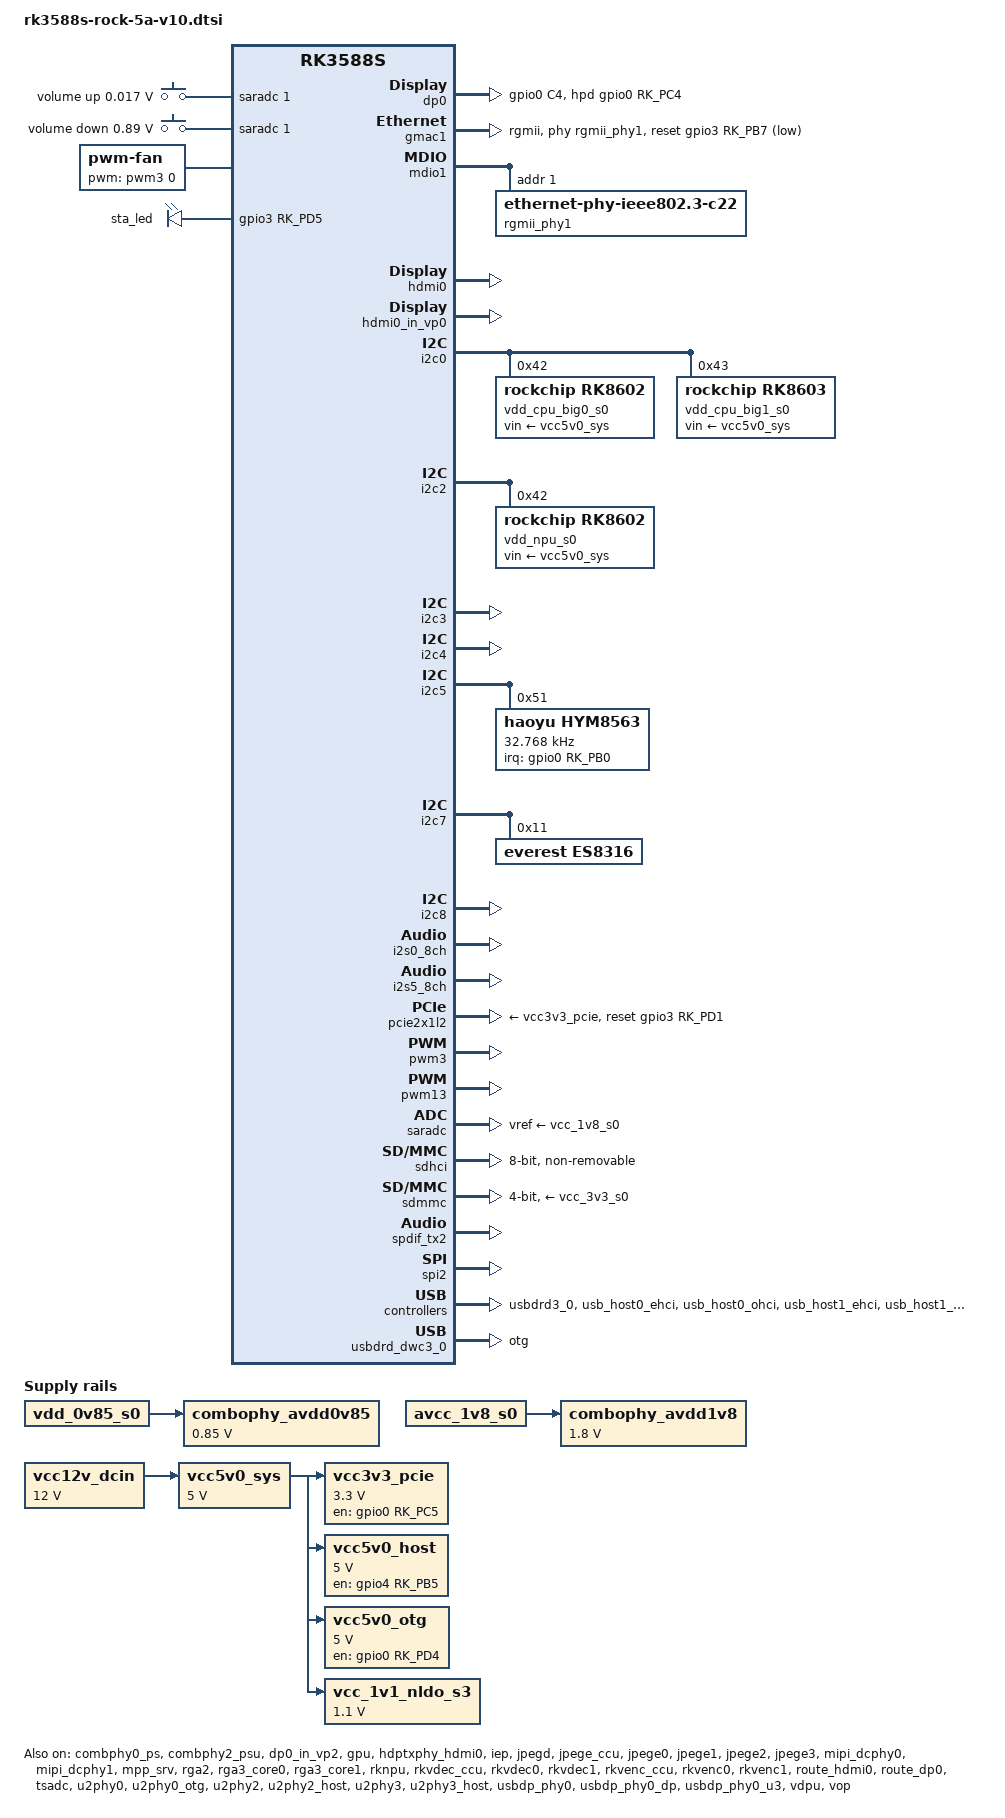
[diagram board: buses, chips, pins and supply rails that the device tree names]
// SPDX-License-Identifier: (GPL-2.0+ OR MIT)
/*
 * Copyright (c) 2021 Rockchip Electronics Co., Ltd.
 *
 */

#include <dt-bindings/gpio/gpio.h>
#include <dt-bindings/pwm/pwm.h>
#include <dt-bindings/pinctrl/rockchip.h>
#include <dt-bindings/input/rk-input.h>
#include <dt-bindings/display/drm_mipi_dsi.h>
#include <dt-bindings/display/rockchip_vop.h>
#include <dt-bindings/sensor-dev.h>
#include <dt-bindings/usb/pd.h>
#include "rk3588s.dtsi"
#include "rk3588-android.dtsi"
#include "rk3588-rk806-single.dtsi"

/ {
	adc_keys: adc-keys {
		compatible = "adc-keys";
		io-channels = <&saradc 1>;
		io-channel-names = "buttons";
		keyup-threshold-microvolt = <1800000>;
		poll-interval = <100>;

		vol-up-key {
			label = "volume up";
			linux,code = <KEY_VOLUMEUP>;
			press-threshold-microvolt = <17000>;
		};

		vol-down-key {
			label = "volume down";
			linux,code = <KEY_VOLUMEDOWN>;
			press-threshold-microvolt = <890000>;
		};
	};

	fan: pwm-fan {
		compatible = "pwm-fan";
		#cooling-cells = <2>;
		pwms = <&pwm3 0 50000 0>;
		cooling-levels = <0 50 100 150 200 255>;
		rockchip,temp-trips = <
                50000   1
                55000   2
                60000   3
                65000   4
                70000   5
        >;
	};

	combophy_avdd0v85: combophy-avdd0v85 {
		compatible = "regulator-fixed";
		regulator-name = "combophy_avdd0v85";
		regulator-boot-on;
		regulator-min-microvolt = <850000>;
		regulator-max-microvolt = <850000>;
		vin-supply = <&vdd_0v85_s0>;
	};

	combophy_avdd1v8: combophy-avdd1v8 {
		compatible = "regulator-fixed";
		regulator-name = "combophy_avdd1v8";
		regulator-boot-on;
		regulator-min-microvolt = <1800000>;
		regulator-max-microvolt = <1800000>;
		vin-supply = <&avcc_1v8_s0>;
	};

	dp0_sound: dp0-sound {
		status = "okay";
		compatible = "rockchip,hdmi";
		rockchip,mclk-fs = <512>;
		rockchip,card-name= "rockchip,dp0";
		rockchip,cpu = <&spdif_tx2>;
		rockchip,codec = <&dp0 1>;
		rockchip,jack-det;
	};

	es8316_sound: es8316-sound {
		status = "okay";
		compatible = "simple-audio-card";
		simple-audio-card,format = "i2s";
		simple-audio-card,mclk-fs = <256>;
		simple-audio-card,name = "rockchip,es8316-codec";
		simple-audio-card,dai-link@0 {
			format = "i2s";
			cpu {
				sound-dai = <&i2s0_8ch>;
			};
			codec {
				sound-dai = <&es8316>;
			};
		};
	};

	hdmi0_sound: hdmi0-sound {
		status = "okay";
		compatible = "simple-audio-card";
		simple-audio-card,format = "i2s";
		simple-audio-card,mclk-fs = <128>;
		simple-audio-card,name = "rockchip,hdmi0";

		simple-audio-card,cpu {
			sound-dai = <&i2s5_8ch>;
		};
		simple-audio-card,codec {
			sound-dai = <&hdmi0>;
		};
	};

	leds: leds {
		compatible = "gpio-leds";
		sta_led: sta {
			gpios = <&gpio3 RK_PD5 GPIO_ACTIVE_HIGH>;
			linux,default-trigger = "heartbeat";
		};
	};

	vcc12v_dcin: vcc12v-dcin {
		compatible = "regulator-fixed";
		regulator-name = "vcc12v_dcin";
		regulator-always-on;
		regulator-boot-on;
		regulator-min-microvolt = <12000000>;
		regulator-max-microvolt = <12000000>;
	};

	vcc3v3_pcie: vcc3v3-pcie {
		compatible = "regulator-fixed";
		regulator-name = "vcc3v3_pcie";
		regulator-min-microvolt = <3300000>;
		regulator-max-microvolt = <3300000>;
		enable-active-high;
		gpio = <&gpio0 RK_PC5 GPIO_ACTIVE_HIGH>;
		startup-delay-us = <5000>;
		vin-supply = <&vcc5v0_sys>;
	};

	vcc5v0_host: vcc5v0-host-regulator {
		compatible = "regulator-fixed";
		regulator-name = "vcc5v0_host";
		regulator-boot-on;
		regulator-always-on;
		regulator-min-microvolt = <5000000>;
		regulator-max-microvolt = <5000000>;
		enable-active-high;
		gpio = <&gpio4 RK_PB5 GPIO_ACTIVE_HIGH>;
		pinctrl-names = "default";
		pinctrl-0 = <&vcc5v0_host_en>;
		vin-supply = <&vcc5v0_sys>;
	};

	vcc5v0_otg: vcc5v0-otg-regulator {
		compatible = "regulator-fixed";
		regulator-name = "vcc5v0_otg";
		regulator-min-microvolt = <5000000>;
		regulator-max-microvolt = <5000000>;
		enable-active-high;
		gpio = <&gpio0 RK_PD4 GPIO_ACTIVE_HIGH>;
		pinctrl-names = "default";
		pinctrl-0 = <&vcc5v0_otg_en>;
		vin-supply = <&vcc5v0_sys>;
	};

	vcc5v0_sys: vcc5v0-sys {
		compatible = "regulator-fixed";
		regulator-name = "vcc5v0_sys";
		regulator-always-on;
		regulator-boot-on;
		regulator-min-microvolt = <5000000>;
		regulator-max-microvolt = <5000000>;
		vin-supply = <&vcc12v_dcin>;
	};

	vcc_1v1_nldo_s3: vcc-1v1-nldo-s3 {
		compatible = "regulator-fixed";
		regulator-name = "vcc_1v1_nldo_s3";
		regulator-always-on;
		regulator-boot-on;
		regulator-min-microvolt = <1100000>;
		regulator-max-microvolt = <1100000>;
		vin-supply = <&vcc5v0_sys>;
	};
};

&combphy0_ps {
	status = "okay";
};
&combphy2_psu {
	status = "okay";
};

&cpu_l0 {
	cpu-supply = <&vdd_cpu_lit_s0>;
	mem-supply = <&vdd_cpu_lit_mem_s0>;
};

&cpu_b0 {
	cpu-supply = <&vdd_cpu_big0_s0>;
	mem-supply = <&vdd_cpu_big0_mem_s0>;
};

&cpu_b2 {
	cpu-supply = <&vdd_cpu_big1_s0>;
	mem-supply = <&vdd_cpu_big1_mem_s0>;
};

/* ddr*/
&dmc {
	status = "disabled";
};

&dfi {
	status = "disabled";
};

&dp0 {
	status = "okay";
	pinctrl-names = "default";
	pinctrl-0 = <&dp0_hpd>;
	hpd-gpios = <&gpio0 RK_PC4 GPIO_ACTIVE_HIGH>;
};

&dp0_in_vp2 {
	status = "okay";
};

// ethernet
&gmac1 {
	status = "okay";
	phy-mode = "rgmii";
	clock_in_out = "output";

	snps,reset-gpio = <&gpio3 RK_PB7 GPIO_ACTIVE_LOW>;
	snps,reset-active-low;
	// Reset time is 20ms, 100ms for rtl8211f
	snps,reset-delays-us = <0 20000 100000>;

	pinctrl-names = "default";
	pinctrl-0 = <&gmac1_miim
		     &gmac1_tx_bus2
		     &gmac1_rx_bus2
		     &gmac1_rgmii_clk
		     &gmac1_rgmii_bus>;

	tx_delay = <0x3a>;
	rx_delay = <0x3e>;

	phy-handle = <&rgmii_phy1>;
};

&mdio1 {
	rgmii_phy1: phy@1 {
		compatible = "ethernet-phy-ieee802.3-c22";
		reg = <0x1>;
	};
};
&gpu {
	mali-supply = <&vdd_gpu_s0>;
	mem-supply = <&vdd_gpu_mem_s0>;
	status = "okay";
};

&hdmi0 {
	enable-gpios = <&gpio1 RK_PC6 GPIO_ACTIVE_HIGH>;
	pinctrl-names = "default";
	pinctrl-0 = <&hdmim0_tx0_cec &hdmim1_tx0_hpd &hdmim0_tx0_scl &hdmim0_tx0_sda>;
	status = "okay";
};

&hdmi0_in_vp0 {
	status = "okay";
};

&hdmi0_in_vp1 {
	status = "disabled";
};

&hdmi0_in_vp2 {
	status = "disabled";
};

&hdmi0_sound {
	status = "okay";
};
&hdptxphy_hdmi0 {
	status = "okay";
};

&i2c0 {
	status = "okay";
	pinctrl-names = "default";
	pinctrl-0 = <&i2c0m2_xfer>;

	vdd_cpu_big0_s0: vdd_cpu_big0_mem_s0: rk8602@42 {
		compatible = "rockchip,rk8602";
		reg = <0x42>;
		vin-supply = <&vcc5v0_sys>;
		regulator-compatible = "rk860x-reg";
		regulator-name = "vdd_cpu_big0_s0";
		regulator-min-microvolt = <550000>;
		regulator-max-microvolt = <1050000>;
		regulator-ramp-delay = <2300>;
		rockchip,suspend-voltage-selector = <1>;
		regulator-boot-on;
		regulator-always-on;
		regulator-state-mem {
			regulator-off-in-suspend;
		};
	};

	vdd_cpu_big1_s0: vdd_cpu_big1_mem_s0: rk8603@43 {
		compatible = "rockchip,rk8603";
		reg = <0x43>;
		vin-supply = <&vcc5v0_sys>;
		regulator-compatible = "rk860x-reg";
		regulator-name = "vdd_cpu_big1_s0";
		regulator-min-microvolt = <550000>;
		regulator-max-microvolt = <1050000>;
		regulator-ramp-delay = <2300>;
		rockchip,suspend-voltage-selector = <1>;
		regulator-boot-on;
		regulator-always-on;
		regulator-state-mem {
			regulator-off-in-suspend;
		};
	};
};

&i2c2 {
	status = "okay";
	pinctrl-names = "default";
	pinctrl-0 = <&i2c2m0_xfer>;

	vdd_npu_s0: vdd_npu_mem_s0: rk8602@42 {
		compatible = "rockchip,rk8602";
		reg = <0x42>;
		vin-supply = <&vcc5v0_sys>;
		regulator-compatible = "rk860x-reg";
		regulator-name = "vdd_npu_s0";
		regulator-min-microvolt = <550000>;
		regulator-max-microvolt = <950000>;
		regulator-ramp-delay = <2300>;
		rockchip,suspend-voltage-selector = <1>;
		regulator-boot-on;
		regulator-always-on;
		regulator-state-mem {
			regulator-off-in-suspend;
		};
	};
}; 

&i2c3 {
	status = "okay";
};

&i2c4 {
	status = "okay";
	pinctrl-names = "default";
	pinctrl-0 = <&i2c4m3_xfer>;
};

&i2c5 {
	hym8563: hym8563@51 {
		compatible = "haoyu,hym8563";
		reg = <0x51>;
		#clock-cells = <0>;
		clock-frequency = <32768>;
		clock-output-names = "hym8563";
		pinctrl-names = "default";
		pinctrl-0 = <&rtc_int>;

		interrupt-parent = <&gpio0>;
		interrupts = <RK_PB0 IRQ_TYPE_LEVEL_LOW>;
	};
};

&i2c7 {
	status = "okay";

	es8316: es8316@11 {
		compatible = "everest,es8316";
		reg = <0x11>;
		clocks = <&cru I2S0_8CH_MCLKOUT>;
		clock-names = "mclk";
		pinctrl-names = "default";
		pinctrl-0 = <&i2s0_mclk>;
		#sound-dai-cells = <0>;
	};
};

&i2c8 {
	status = "okay";
	pinctrl-names = "default";
	pinctrl-0 = <&i2c8m2_xfer>;
};

&i2s0_8ch {
	status = "okay";
	rockchip,playback-channels = <2>;
	rockchip,capture-channels = <2>;
	#sound-dai-cells = <0>;
	pinctrl-names = "default";
	pinctrl-0 = <&i2s0_lrck
			 &i2s0_sclk
			 &i2s0_sdi0
			 &i2s0_sdo0>;
};

&i2s5_8ch {
	status = "okay";
};

&iep {
	status = "okay";
};

&iep_mmu {
	status = "okay";
};

&jpegd {
	status = "okay";
};

&jpegd_mmu {
	status = "okay";
};

&jpege_ccu {
	status = "okay";
};

&jpege0 {
	status = "okay";
};

&jpege0_mmu {
	status = "okay";
};

&jpege1 {
	status = "okay";
};

&jpege1_mmu {
	status = "okay";
};

&jpege2 {
	status = "okay";
};

&jpege2_mmu {
	status = "okay";
};

&jpege3 {
	status = "okay";
};

&jpege3_mmu {
	status = "okay";
};

// gmac1
&mipi_dcphy0 {
	status = "okay";
};

&mipi_dcphy1 {
	status = "okay";
};

&mpp_srv {
	status = "okay";
};

&pcie2x1l2 {
	status = "okay";
	rockchip,skip-scan-in-resume;
	reset-gpios = <&gpio3 RK_PD1 GPIO_ACTIVE_HIGH>;
	vpcie3v3-supply = <&vcc3v3_pcie>;
};

/// we don't have pdm
&pdm0 {
	status = "disabled";
};

&pinctrl {
	dp {
		dp0_hpd: dp0-hpd {
			rockchip,pins = <0 RK_PC4 RK_FUNC_GPIO &pcfg_pull_none>;
		};
	};

	hym8563 {
		rtc_int: rtc-int {
			rockchip,pins = <0 RK_PB0 RK_FUNC_GPIO &pcfg_pull_up>;
		};
	};

	lcd {
		lcd_rst_gpio: lcd-rst-gpio {
			rockchip,pins = <1 RK_PA4 RK_FUNC_GPIO &pcfg_pull_none>;
		};
	};

	usb {
		vcc5v0_host_en: vcc5v0-host-en {
			rockchip,pins = <4 RK_PA3 RK_FUNC_GPIO &pcfg_pull_none>;
		};

		vcc5v0_otg_en: vcc5v0-otg-en {
			rockchip,pins = <0 RK_PD4 RK_FUNC_GPIO &pcfg_pull_none>;
		};

	};
};

/*fan*/
&pwm3 {
	status = "okay";
	pinctrl-0 = <&pwm3m1_pins>;
};

&pwm13 {
	status = "okay";
	pinctrl-names = "active";
	pinctrl-0 = <&pwm13m1_pins>;
};

&rga2 {
	status = "okay";
};

&rga3_core0 {
	status = "okay";
};

&rga3_0_mmu {
	status = "okay";
};

&rga3_core1 {
	status = "okay";
};

&rga3_1_mmu {
	status = "okay";
};

&rknpu {
	rknpu-supply = <&vdd_npu_s0>;
	mem-supply = <&vdd_npu_mem_s0>;
	status = "okay";
};

&rknpu_mmu {
	status = "okay";
};

&rkvdec_ccu {
	status = "okay";
};

&rkvdec0 {
	status = "okay";
};

&rkvdec0_mmu {
	status = "okay";
};

&rkvdec1 {
	status = "okay";
};

&rkvdec1_mmu {
	status = "okay";
};

&rkvenc_ccu {
	status = "okay";
};

&rkvenc0 {
	status = "okay";
};

&rkvenc0_mmu {
	status = "okay";
};

&rkvenc1 {
	status = "okay";
};

&rkvenc1_mmu {
	status = "okay";
};

&rockchip_suspend {
	status = "okay";
	rockchip,sleep-debug-en = <1>;
};

&route_hdmi0 {
	status = "okay";
	logo,uboot = "logo.bmp";
	logo,kernel = "logo_kernel.bmp";
	logo,mode = "center";
	charge_logo,mode = "center";
	connect = <&vp0_out_hdmi0>;
};

&route_dp0 {
	status = "okay";
	logo,uboot = "logo.bmp";
	logo,kernel = "logo_kernel.bmp";
	logo,mode = "center";
	charge_logo,mode = "center";
	connect = <&vp2_out_dp0>;
};

&saradc {
	status = "okay";
	vref-supply = <&vcc_1v8_s0>;
};

/* eMMC */

&sdhci {
	bus-width = <8>;
	no-sdio;
	no-sd;
	supports-sd;
	non-removable;
	max-frequency = <200000000>;
	mmc-hs400-1_8v;
	// mmc-hs400-enhanced-strobe;
	pinctrl-names = "default";
	pinctrl-0 = <&emmc_rstnout &emmc_bus8 &emmc_clk &emmc_cmd &emmc_data_strobe>;
	status = "okay";
};
/* SD */
&sdmmc {
	max-frequency = <150000000>;
	no-sdio;
	no-mmc;
	bus-width = <4>;
	cap-mmc-highspeed;
	cap-sd-highspeed;
	disable-wp;
	sd-uhs-sdr104;
	vmmc-supply = <&vcc_3v3_s0>;
	vqmmc-supply = <&vccio_sd_s0>;
	pinctrl-names = "default";
	pinctrl-0 = <&sdmmc_bus4 &sdmmc_clk &sdmmc_cmd &sdmmc_det>;
	status = "okay";
};

&spdif_tx2 {
	status = "okay";
};

&spi2 {
	status = "okay";
	pinctrl-names = "default";
	pinctrl-0 = <&spi2m2_cs0 &spi2m2_pins>;
	num-cs = <1>;
};

&tsadc {
	status = "okay";
};

&u2phy0 {
	status = "okay";
};

&u2phy0_otg {
	status = "okay";
};

&usbdrd3_0 {
	status = "okay";
};

&usbdrd_dwc3_0 {
	dr_mode = "otg";
	extcon = <&u2phy0>;
	status = "okay";
};

&u2phy0 {
	status = "okay";
};

&u2phy0_otg {
	status = "okay";
	vbus-supply = <&vcc5v0_otg>;
};

&u2phy2 {
	status = "okay";
};

&u2phy2_host {
	status = "okay";
	phy-supply = <&vcc5v0_host>;
};

&usb_host0_ehci {
	status = "okay";
};

&usb_host0_ohci {
	status = "okay";
};

&u2phy3 {
	status = "okay";
};

&u2phy3_host {
	phy-supply = <&vcc5v0_host>;
	status = "okay";
};

&usb_host1_ehci {
	status = "okay";
};

&usb_host1_ohci {
	status = "okay";
};

&usbdrd3_0 {
	status = "okay";
};

&usbdrd_dwc3_0 {
	dr_mode = "otg";
	status = "okay";
};

&usbdp_phy0 {
	rockchip,dp-lane-mux = <2 3>;
	status = "okay";
};

&usbdp_phy0_dp {
	status = "okay";
};

&usbdp_phy0_u3 {
	status = "okay";
};

&vdpu {
	status = "okay";
};

&vdpu_mmu {
	status = "okay";
};

&vop {
	status = "okay";
};

&vop_mmu {
	status = "okay";
};
&vop {
	status = "okay";
};

&vop_mmu {
	status = "okay";
};

/* vp0 & vp1 splice for 8K output */
&vp0 {
	rockchip,plane-mask = <(1 << ROCKCHIP_VOP2_CLUSTER0 | 1 << ROCKCHIP_VOP2_ESMART0)>;
	rockchip,primary-plane = <ROCKCHIP_VOP2_ESMART0>;
};

&vp1 {
	rockchip,plane-mask = <(1 << ROCKCHIP_VOP2_CLUSTER1 | 1 << ROCKCHIP_VOP2_ESMART1)>;
	rockchip,primary-plane = <ROCKCHIP_VOP2_ESMART1>;
};

&vp2 {
	rockchip,plane-mask = <(1 << ROCKCHIP_VOP2_CLUSTER2 | 1 << ROCKCHIP_VOP2_ESMART2)>;
	rockchip,primary-plane = <ROCKCHIP_VOP2_ESMART2>;
};

&vp3 {
	rockchip,plane-mask = <(1 << ROCKCHIP_VOP2_CLUSTER3 | 1 << ROCKCHIP_VOP2_ESMART3)>;
	rockchip,primary-plane = <ROCKCHIP_VOP2_ESMART3>;
};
